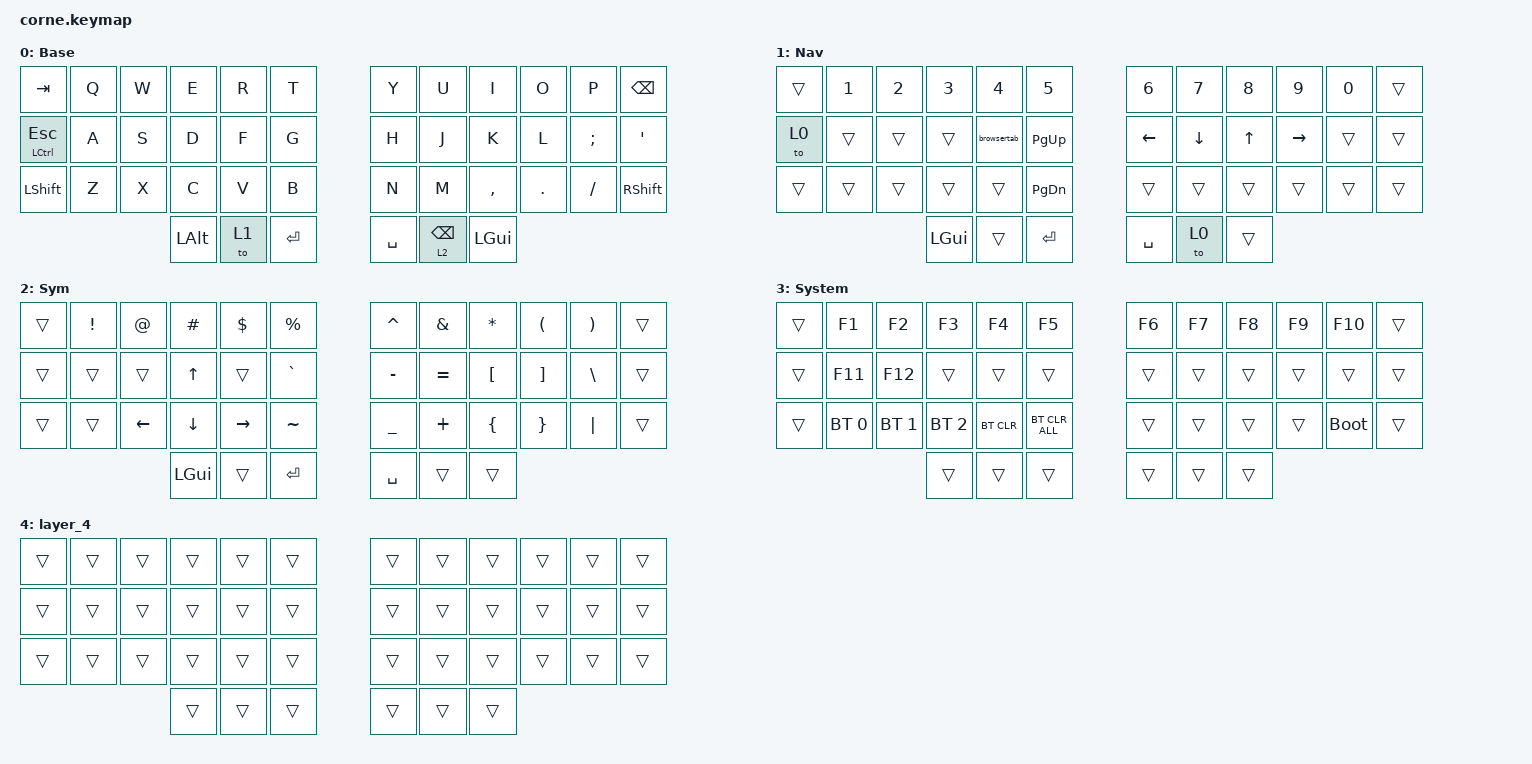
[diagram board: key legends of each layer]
#include <behaviors.dtsi>
#include <dt-bindings/zmk/bt.h>
#include <dt-bindings/zmk/keys.h>

#define DEF 0
#define NAV 1
#define SYM 2
#define ADJ 3

/ {
    behaviors {
        hm: homerow_mods {
            compatible = "zmk,behavior-hold-tap";
            label = "HOMEROW_MODS";
            #binding-cells = <2>;
            tapping-term-ms = <200>;
            quick_tap_ms = <0>;
            flavor = "tap-preferred";
            bindings = <&kp>, <&kp>;

            quick-tap-ms = <180>;
            global-quick-tap;
        };

        para: para {
            compatible = "zmk,behavior-tap-dance";
            label = "PARA";
            #binding-cells = <0>;
            bindings = <&kp LEFT_PARENTHESIS>, <&kp RIGHT_PARENTHESIS>;
        };

        caps: caps {
            compatible = "zmk,behavior-caps-word";
            label = "CAPS";
            #binding-cells = <0>;
            continue-list = <MINUS BACKSPACE>;
        };

        paraless: paraless {
            compatible = "zmk,behavior-mod-morph";
            label = "PARALESS";
            bindings = <&kp LEFT_PARENTHESIS>, <&kp LESS_THAN>;

            #binding-cells = <0>;
            mods = <(MOD_LSFT)>;
        };

        paragreat: paragreat {
            compatible = "zmk,behavior-mod-morph";
            label = "PARAGREAT";
            bindings = <&kp RIGHT_PARENTHESIS>, <&kp GREATER_THAN>;

            #binding-cells = <0>;
            mods = <(MOD_LSFT)>;
        };
    };

    macros {
        browsertab: browsertab {
            compatible = "zmk,behavior-macro";
            #binding-cells = <0>;
            bindings =
                <&macro_press>,
                <&kp LCTRL>,
                <&macro_tap>,
                <&kp TAB>,
                <&macro_release>,
                <&kp LCTRL>;
        };
    };

    combos {
        compatible = "zmk,combos";

        escape {
            bindings = <&kp ESCAPE>;
            key-positions = <13 29>;
        };

        delete {
            bindings = <&kp DELETE>;
            key-positions = <15 21>;
        };

        perc {
            bindings = <&kp PERCENT>;
            key-positions = <10 4>;
        };

        equal {
            bindings = <&kp EQUAL>;
            key-positions = <28 16>;
        };

        dollar {
            bindings = <&kp DOLLAR>;
            key-positions = <14 21>;
        };

        pound {
            bindings = <&kp POUND>;
            key-positions = <3 15>;
        };

        at {
            bindings = <&kp AT>;
            key-positions = <13 5>;
        };

        backslash {
            bindings = <&kp BACKSLASH>;
            key-positions = <26 14>;
        };

        copy {
            bindings = <&kp K_COPY>;
            key-positions = <28 27>;
        };

        paste {
            bindings = <&kp K_PASTE>;
            key-positions = <26 27>;
        };

        star {
            bindings = <&kp STAR>;
            key-positions = <8 20>;
        };

        slash {
            bindings = <&kp SLASH>;
            key-positions = <32 20>;
        };

        plus {
            bindings = <&kp PLUS>;
            key-positions = <7 19>;
        };

        minus {
            bindings = <&kp KP_MINUS>;
            key-positions = <31 19>;
        };

        underscore {
            bindings = <&kp UNDER>;
            key-positions = <30 18>;
        };

        leftbrack {
            bindings = <&kp LEFT_BRACKET>;
            key-positions = <31 32>;
        };

        rightbrack {
            bindings = <&kp RIGHT_BRACKET>;
            key-positions = <33 32>;
        };

        para-less {
            bindings = <&paraless>;
            key-positions = <20 19>;
        };

        para-great {
            bindings = <&paragreat>;
            key-positions = <20 21>;
        };
    };

    //

    keymap {
        compatible = "zmk,keymap";

        DEF {
            display-name = "Base";

            // -----------------------------------------------------------------------------------------
            // |  Q  |  W  |  E  |  R  |  T  |   |  Y  |  U   |  I  |  O  |  P  |
            // |  A  |  S  |  D  |  F  |  G  |   |  H  |  J   |  K  |  L  |  ;  |
            // |  Z  |  X  |  C  |  V  |  B  |   |  N  |  M   |  ,  |  .  |  /  |
            // | GUI | CTRL | SHFT | LWR | SPC |   | ENT | RSE  | BKSP | ALT | ESC |

            bindings = <
&kp TAB         &kp Q  &kp W  &kp E         &kp R  &kp T        &kp Y      &kp U            &kp I      &kp O    &kp P     &kp BACKSPACE
&hm LCTRL ESC   &kp A  &kp S  &kp D         &kp F  &kp G        &kp H      &kp J            &kp K      &kp L    &kp SEMI  &kp SQT
&kp LEFT_SHIFT  &kp Z  &kp X  &kp C         &kp V  &kp B        &kp N      &kp M            &kp COMMA  &kp DOT  &kp FSLH  &kp RSHFT
                              &kp LEFT_ALT  &to 1  &kp ENTER    &kp SPACE  &lt 2 BACKSPACE  &kp LGUI
            >;
        };

        NAV {
            display-name = "Nav";

            // -----------------------------------------------------------------------------------------
            // |  TAB |  1  |  2  |  3  |  4  |  5  |   |  6  |  7  |  8  |  9  |  0  | BKSP |
            // | BTCLR| BT1 | BT2 | BT3 | BT4 | BT5 |   | LFT | DWN |  UP | RGT |     |      |
            // | SHFT |     |     |     |     |     |   |     |     |     |     |     |      |
            // | GUI | CTRL | SHFT | LWR | SPC |   | ENT | RSE  | BKSP | ALT | ESC |

            bindings = <
&trans  &kp N1  &kp NUMBER_2  &kp NUMBER_3  &kp NUMBER_4  &kp N5           &kp N6     &kp N7          &kp N8        &kp N9     &kp N0  &trans
&to 0   &trans  &trans        &trans        &browsertab   &kp PAGE_UP      &kp LEFT   &kp DOWN_ARROW  &kp UP_ARROW  &kp RIGHT  &trans  &trans
&trans  &trans  &trans        &trans        &trans        &kp PAGE_DOWN    &trans     &trans          &trans        &trans     &trans  &trans
                              &kp LGUI      &trans        &kp ENTER        &kp SPACE  &to 0           &trans
            >;
        };

        SYM {
            display-name = "Sym";

            // -----------------------------------------------------------------------------------------
            // |  TAB |  !  |  @  |  #  |  $  |  %  |   |  ^  |  &  |  *  |  (  |  )  | BKSP |
            // | CTRL |     |     |     |     |     |   |  -  |  =  |  [  |  ]  |  \  |  `   |
            // | SHFT |     |     |     |     |     |   |  _  |  +  |  {  |  }  | "|" |  ~   |
            //                    | GUI |     | SPC |   | ENT |     | ALT |

            bindings = <
&trans  &kp EXCL  &kp AT          &kp HASH        &kp DLLR         &kp PRCNT    &kp CARET  &kp AMPS   &kp ASTRK  &kp LEFT_PARENTHESIS  &kp RPAR  &trans
&trans  &trans    &trans          &kp UP_ARROW    &trans           &kp GRAVE    &kp MINUS  &kp EQUAL  &kp LBKT   &kp RBKT              &kp BSLH  &trans
&trans  &trans    &kp LEFT_ARROW  &kp DOWN_ARROW  &kp RIGHT_ARROW  &kp TILDE    &kp UNDER  &kp PLUS   &kp LBRC   &kp RBRC              &kp PIPE  &trans
                                  &kp LGUI        &trans           &kp ENTER    &kp SPACE  &trans     &trans
            >;
        };

        ADJ {
            display-name = "System";
            bindings = <
&trans  &kp F1        &kp F2        &kp F3        &kp F4      &kp F5            &kp F6  &kp F7  &kp F8  &kp F9  &kp F10      &trans
&trans  &kp F11       &kp F12       &trans        &trans      &trans            &trans  &trans  &trans  &trans  &trans       &trans
&trans  &bt BT_SEL 0  &bt BT_SEL 1  &bt BT_SEL 2  &bt BT_CLR  &bt BT_CLR_ALL    &trans  &trans  &trans  &trans  &bootloader  &trans
                                    &trans        &trans      &trans            &trans  &trans  &trans
            >;
        };

        layer_4 {
            bindings = <
&trans  &trans  &trans  &trans  &trans  &trans    &trans  &trans  &trans  &trans  &trans  &trans
&trans  &trans  &trans  &trans  &trans  &trans    &trans  &trans  &trans  &trans  &trans  &trans
&trans  &trans  &trans  &trans  &trans  &trans    &trans  &trans  &trans  &trans  &trans  &trans
                        &trans  &trans  &trans    &trans  &trans  &trans
            >;
        };
    };

    conditional_layers {
        compatible = "zmk,conditional-layers";

        l3 {
            if-layers = <1 2>;
            then-layer = <3>;
        };
    };
};
